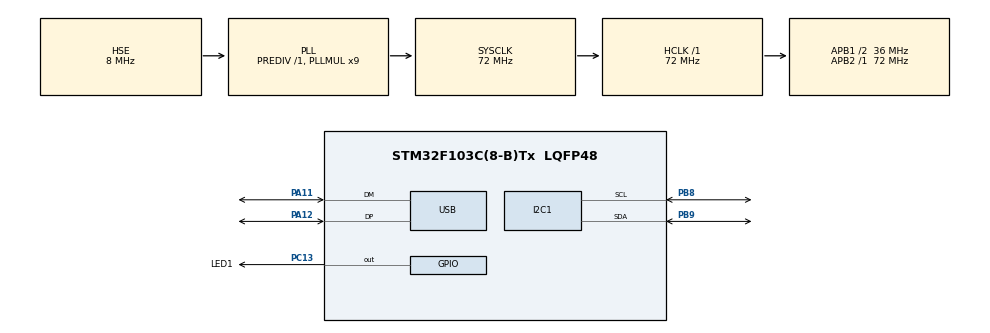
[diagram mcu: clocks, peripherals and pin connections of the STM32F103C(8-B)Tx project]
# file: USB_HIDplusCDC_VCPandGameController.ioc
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Dma.I2C1_RX.0.Direction=DMA_PERIPH_TO_MEMORY
Dma.I2C1_RX.0.Instance=DMA1_Channel7
Dma.I2C1_RX.0.MemDataAlignment=DMA_MDATAALIGN_BYTE
Dma.I2C1_RX.0.MemInc=DMA_MINC_ENABLE
Dma.I2C1_RX.0.Mode=DMA_NORMAL
Dma.I2C1_RX.0.PeriphDataAlignment=DMA_PDATAALIGN_BYTE
Dma.I2C1_RX.0.PeriphInc=DMA_PINC_DISABLE
Dma.I2C1_RX.0.Priority=DMA_PRIORITY_LOW
Dma.I2C1_TX.1.Direction=DMA_MEMORY_TO_PERIPH
Dma.I2C1_TX.1.Instance=DMA1_Channel6
Dma.I2C1_TX.1.MemDataAlignment=DMA_MDATAALIGN_BYTE
Dma.I2C1_TX.1.MemInc=DMA_MINC_ENABLE
Dma.I2C1_TX.1.Mode=DMA_NORMAL
Dma.I2C1_TX.1.PeriphDataAlignment=DMA_PDATAALIGN_BYTE
Dma.I2C1_TX.1.PeriphInc=DMA_PINC_DISABLE
Dma.I2C1_TX.1.Priority=DMA_PRIORITY_LOW
Dma.Request0=I2C1_RX
Dma.Request1=I2C1_TX
I2C1.I2C_Mode=I2C_Fast
Mcu.Family=STM32F1
Mcu.Name=STM32F103C(8-B)Tx
Mcu.Package=LQFP48
NVIC.DMA1_Channel6_IRQn=true\:0\:0\:false\:false\:true\:false\:true
NVIC.DMA1_Channel7_IRQn=true\:0\:0\:false\:false\:true\:false\:true
NVIC.I2C1_ER_IRQn=true\:0\:0\:false\:false\:true\:true\:true
NVIC.I2C1_EV_IRQn=true\:0\:0\:false\:false\:true\:true\:true
NVIC.PriorityGroup=NVIC_PRIORITYGROUP_4
NVIC.USB_HP_CAN1_TX_IRQn=true\:0\:0\:false\:false\:true\:true\:true
NVIC.USB_LP_CAN1_RX0_IRQn=true\:0\:0\:false\:false\:true\:true\:true
PA11.Mode=Device
PA11.Signal=USB_DM
PA12.Mode=Device
PA12.Signal=USB_DP
PA13.Mode=Serial_Wire
PA13.Signal=SYS_JTMS-SWDIO
PA14.Mode=Serial_Wire
PA14.Signal=SYS_JTCK-SWCLK
PB8.Mode=I2C
PB8.Signal=I2C1_SCL
PB9.Mode=I2C
PB9.Signal=I2C1_SDA
PC13-TAMPER-RTC.GPIO_Label=LED1
PC13-TAMPER-RTC.Signal=GPIO_Output
PD0-OSC_IN.Mode=HSE-External-Oscillator
PD0-OSC_IN.Signal=RCC_OSC_IN
PD1-OSC_OUT.Mode=HSE-External-Oscillator
PD1-OSC_OUT.Signal=RCC_OSC_OUT
ProjectManager.HeapSize=0x200
ProjectManager.StackSize=0x400
ProjectManager.TargetToolchain=STM32CubeIDE
RCC.AHBFreq_Value=72000000
RCC.APB1CLKDivider=RCC_HCLK_DIV2
RCC.APB1Freq_Value=36000000
RCC.APB1TimFreq_Value=72000000
RCC.APB2Freq_Value=72000000
RCC.APB2TimFreq_Value=72000000
RCC.HCLKFreq_Value=72000000
RCC.PLLMUL=RCC_PLL_MUL9
RCC.SYSCLKFreq_VALUE=72000000
RCC.SYSCLKSource=RCC_SYSCLKSOURCE_PLLCLK
RCC.USBFreq_Value=48000000
RCC.USBPrescaler=RCC_USBCLKSOURCE_PLL_DIV1_5
USB_DEVICE.CLASS_NAME_FS=CDC
USB_DEVICE.VirtualMode=Cdc
USB_DEVICE.VirtualModeFS=Cdc_FS
VP_USB_DEVICE_VS_USB_DEVICE_CDC_FS.Mode=CDC_FS
board=custom

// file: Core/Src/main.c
/* USER CODE BEGIN Header */
/**
  ******************************************************************************
  * @file           : main.c
  * @brief          : Main program body
  ******************************************************************************
  * @attention
  *
  * <h2><center>&copy; Copyright (c) 2021 STMicroelectronics.
  * All rights reserved.</center></h2>
  *
  * This software component is licensed by ST under BSD 3-Clause license,
  * the "License"; You may not use this file except in compliance with the
  * License. You may obtain a copy of the License at:
  *                        opensource.org/licenses/BSD-3-Clause
  *
  ******************************************************************************
  */
/*
 * @@@@@@@@@@@@@@@@@@@@@@@@@@@@@@@@@@@@@@@@@@@@@@@@@@@@@@@@@@@@@@@
 * @@@@@@@@@@@@@@@@@@@@@@@@@@@@@@@@@@@@@@@@@@@@@@@@@@@@@@@@@@@@@@@
 * @@@@@@@@@@@@@@@@@@@@@@@@@@@@@@@@@@@@@@@@@@@@@@@@@@@@@@@@@@@@@@@
 * IMPORTANT @@@@@@@@@@@@@@@@@@@@@@@@@@@@@@@@@@@@@@@@@@@@@@@@@@@@@
 * @@@@@@@@@@@@@@@@@@@@@@@@@@@@@@@@@@@@@@@@@@@@@@@@@@@@@@@@@@@@@@@
 * After regeration Source Code by CubeMX go to:
 * Middlewares\ST\STM32_USB_Device_Library\Class\usbd_cdc.c
 * Comment Line 655 656
 * //          USBD_CtlError(pdev, req);
 * //          ret = USBD_FAIL;
 * That's what you need change after Code Regeneration
 * @@@@@@@@@@@@@@@@@@@@@@@@@@@@@@@@@@@@@@@@@@@@@@@@@@@@@@@@@@@@@@@
 * @@@@@@@@@@@@@@@@@@@@@@@@@@@@@@@@@@@@@@@@@@@@@@@@@@@@@@@@@@@@@@@
 * @@@@@@@@@@@@@@@@@@@@@@@@@@@@@@@@@@@@@@@@@@@@@@@@@@@@@@@@@@@@@@@
 * @@@@@@@@@@@@@@@@@@@@@@@@@@@@@@@@@@@@@@@@@@@@@@@@@@@@@@@@@@@@@@@
 * @@@@@@@@@@@@@@@@@@@@@@@@@@@@@@@@@@@@@@@@@@@@@@@@@@@@@@@@@@@@@@@
 * @@@@@@@@@@@@@@@@@@@@@@@@@@@@@@@@@@@@@@@@@@@@@@@@@@@@@@@@@@@@@@@
 * @@@@@@@@@@@@@@@@@@@@@@@@@@@@@@@@@@@@@@@@@@@@@@@@@@@@@@@@@@@@@@@
 */
/* USER CODE END Header */
#include "main.h"
#include "dma.h"
#include "i2c.h"
#include "usb_device.h"
#include "gpio.h"

/* USER CODE BEGIN Includes */
#include "usbd_hidGameController.h"
#include "usbd_desc.h"
#include "usbd_composite.h"
#include "usb_descriptors.h"
#include "usbd_cdc_if.h"
#include "usb_device.h"

#include "wii_cc.h"
/* USER CODE END Includes */

void SystemClock_Config(void);

/* USER CODE BEGIN 0 */
void VCP_HostHelloSendMessage()
{
	static uint32_t CDC_OpenTime;
	if(!USB_CDChost_com_port_open)
	{
		CDC_OpenTime= HAL_GetTick();
	}
	if(USB_CDChost_com_port_open && (CDC_OpenTime + 150 < HAL_GetTick()) )
	{
		CDC_OpenTime= HAL_GetTick();
		static char Buff[]="HELLO_HOST, this program working as ECHO!\n\rSend your message\n\r";
		CDC_Transmit_FS((uint8_t*)Buff, sizeof(Buff)-1);
		USB_CDChost_com_port_open=0;
	}
}

void CDC_ReveiveCallback(uint8_t *Buffer, uint8_t Length)
{
//i dont modify it I won't copy anything because it is interrupt, i know how to avoid it, and make for example buffer queue. (Simple)
	//but Iam lazy ;)
	if(Length > 0)
	{
		CDC_Transmit_FS(Buffer, Length);
	}
}

WII_CC_DATA_t wii_data;

uint8_t packet[8]={0};

void wiiCCtoUSB(WII_CC_DATA_t* data)
{
static uint8_t packet[8]={0};

	packet[0] = (uint8_t) data->left_trigger;
	packet[1] = (uint8_t) data->right_trigger;
	packet[2] = (uint8_t) data->left_analog_x;
	packet[3] = (uint8_t) data->left_analog_y;
	packet[4] = (uint8_t) data->right_analog_x;
	packet[5] = (uint8_t) data->right_analog_y;

	packet[6] = *((uint8_t*) &data->buttons);
	packet[7] = *(((uint8_t*) &data->buttons)+1);

	USBD_HID_SendReport(&hUsbDeviceFS, packet, 8);
}

uint8_t i2cSimpleScanner()
{
	HAL_StatusTypeDef result;
 	uint8_t i;
 	for (i=1; i<128; i++)
 	{
 	  result = HAL_I2C_IsDeviceReady(&hi2c1, (uint16_t)(i<<1), 2, 10);
 	  if (result != HAL_OK) // HAL_ERROR or HAL_BUSY or HAL_TIMEOUT
 	  {
 		  volatile int i=0;
 		  UNUSED(i);
 		 //not found on the addres
 	  }
 	  if (result == HAL_OK)
 	  {
 		return i;
 	  }
 	}
 	return 0;
}

/* USER CODE END 0 */

int main(void)
{

  /* MCU Configuration--------------------------------------------------------*/

  /* Reset of all peripherals, Initializes the Flash interface and the Systick. */
  HAL_Init();

  /* Configure the system clock */
  SystemClock_Config();

  /* Initialize all configured peripherals */
  MX_GPIO_Init();
  MX_USB_DEVICE_Init();
  MX_DMA_Init();
  MX_I2C1_Init();
  /* USER CODE BEGIN 2 */

//uint8_t DeviceAddres = i2cSimpleScanner();
//	if(DeviceAddres != 0)
//	{
//		//game controller adress found! at 0x52
//		//Print address or send via UART/CDC, dk :)
//	}
  wiiCCInit();
  /* USER CODE END 2 */

  /* Infinite loop */
  /* USER CODE BEGIN WHILE */
  while (1)
  {
	  wiiCCRead(&wii_data);
	  wiiCCtoUSB(&wii_data);

	  VCP_HostHelloSendMessage();
    /* USER CODE END WHILE */

  }
}

void SystemClock_Config(void)
{
  RCC_OscInitTypeDef RCC_OscInitStruct = {0};
  RCC_ClkInitTypeDef RCC_ClkInitStruct = {0};
  RCC_PeriphCLKInitTypeDef PeriphClkInit = {0};

  /** Initializes the RCC Oscillators according to the specified parameters
  * in the RCC_OscInitTypeDef structure.
  */
  RCC_OscInitStruct.OscillatorType = RCC_OSCILLATORTYPE_HSE;
  RCC_OscInitStruct.HSEState = RCC_HSE_ON;
  RCC_OscInitStruct.HSEPredivValue = RCC_HSE_PREDIV_DIV1;
  RCC_OscInitStruct.HSIState = RCC_HSI_ON;
  RCC_OscInitStruct.PLL.PLLState = RCC_PLL_ON;
  RCC_OscInitStruct.PLL.PLLSource = RCC_PLLSOURCE_HSE;
  RCC_OscInitStruct.PLL.PLLMUL = RCC_PLL_MUL9;
  if (HAL_RCC_OscConfig(&RCC_OscInitStruct) != HAL_OK)
  {
    Error_Handler();
  }
  /** Initializes the CPU, AHB and APB buses clocks
  */
  RCC_ClkInitStruct.ClockType = RCC_CLOCKTYPE_HCLK|RCC_CLOCKTYPE_SYSCLK
                              |RCC_CLOCKTYPE_PCLK1|RCC_CLOCKTYPE_PCLK2;
  RCC_ClkInitStruct.SYSCLKSource = RCC_SYSCLKSOURCE_PLLCLK;
  RCC_ClkInitStruct.AHBCLKDivider = RCC_SYSCLK_DIV1;
  RCC_ClkInitStruct.APB1CLKDivider = RCC_HCLK_DIV2;
  RCC_ClkInitStruct.APB2CLKDivider = RCC_HCLK_DIV1;

  if (HAL_RCC_ClockConfig(&RCC_ClkInitStruct, FLASH_LATENCY_2) != HAL_OK)
  {
    Error_Handler();
  }
  PeriphClkInit.PeriphClockSelection = RCC_PERIPHCLK_USB;
  PeriphClkInit.UsbClockSelection = RCC_USBCLKSOURCE_PLL_DIV1_5;
  if (HAL_RCCEx_PeriphCLKConfig(&PeriphClkInit) != HAL_OK)
  {
    Error_Handler();
  }
}

void Error_Handler(void)
{
  __disable_irq();
  while (1)
  {
  }
}

/************************ (C) COPYRIGHT STMicroelectronics *****END OF FILE****/
